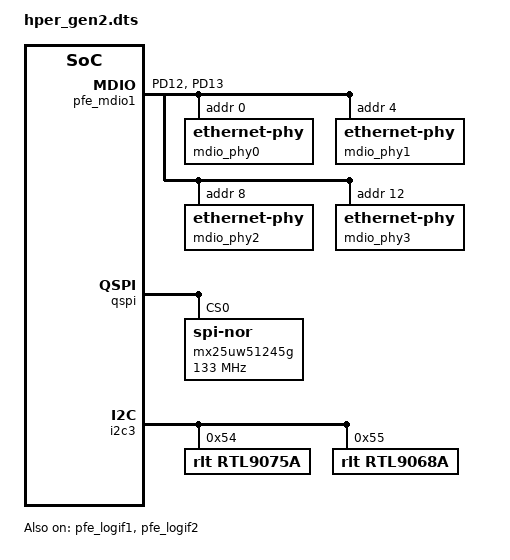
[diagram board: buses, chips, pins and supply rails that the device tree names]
/*
 * Copyright 2019-2020 NXP
 *
 * This program is free software; you can redistribute it and/or modify
 * it under the terms of the GNU General Public License as published by
 * the Free Software Foundation; either version 2 of the License, or
 * (at your option) any later version.
 */

/dts-v1/;
#include "hper_gen2_common.dts"

&pfe_logif1 {
	status = "okay";
	fsl,pfeng-hif-channel = <1>;
	phy-mode = "rgmii";
	phy-handle = <&mdio_phy0>;
	pinctrl-names = "default";
	pinctrl-0 = <&pinctrl0_pfe1_rgmii_c>, <&pinctrl1_pfe1_rgmii_c>;
};


&pfe_logif2 {
	status = "okay";
	fsl,pfeng-hif-channel = <2>;
	phy-mode = "sgmii";
	phy-handle = <&mdio_phy1>;
};

&pfe_mdio1 {
	/* used by USB ULPI */
	status = "okay";
	pinctrl-names = "default";
	pinctrl-0 = <&pinctrl0_pfe1_mdio_c>, <&pinctrl1_pfe1_mdio_c>;
	/* TI DP83TG720R PHY 0 */
	mdio_phy0: ethernet-phy@0 {
		#address-cells = <1>;
		#size-cells = <0>;
		reg = <0>;
	};
	/* TI DP83TG720S PHY 1 */
	mdio_phy1: ethernet-phy@1 {
		#address-cells = <1>;
		#size-cells = <0>;
		reg = <4>;
	};
	/* TI DP83TG720R PHY 2 */
	mdio_phy2: ethernet-phy@2 {
		#address-cells = <1>;
		#size-cells = <0>;
		reg = <8>;
	};
	/* TI DP83TG720R PHY 3 */
	mdio_phy3: ethernet-phy@3 {
		#address-cells = <1>;
		#size-cells = <0>;
		reg = <12>;
	};
};

&pfe_mdio2 {
	/* used by USB ULPI */
	status = "disabled";
};

&qspi {
	status = "ok";

	mx25uw51245g@0 {
		#address-cells = <1>;
		#size-cells = <1>;
		compatible = "jedec,spi-nor";
		spi-max-frequency = <133000000>;
		spi-tx-bus-width = <8>;
		spi-rx-bus-width = <8>;
		reg = <0>;
	};
};

&i2c3 {
	status = "okay";
	pinctrl-names = "default";
	pinctrl-0 = <&pinctrl0_i2c3 &pinctrl1_i2c3>;

	rtl9075a: rtlswitch@84 {
		compatible = "rlt,RTL9075A";
		reg = <0x54>;
		#address-cells = <1>;
		#size-cells = <0>;

		port-8 {
			reg = <8>;
			phy-handle = <&mdio_phy2>;
		};

		port-9 {
			reg = <9>;
			phy-handle = <&mdio_phy3>;
		};
	};

	rtl9068a: rtlswitch@85 {
		compatible = "rlt,RTL9068A";
		reg = <0x55>;
	};
};

&pinctrl0 {
	status = "okay";
	s32g274a-evb {

		pinctrl0_pfe1_mdio_c: pfe1mdiocgrp {
			fsl,pins = <
				S32_G274_PAD_PD12__PFE1_MDC
				S32_G274_PAD_PD13__PFE1_MDIO_OUT
			>;
		};

		pinctrl0_pfe1_rgmii_c: pfe1rgmiicgrp {
			fsl,pins = <
				S32_G274_PAD_PE2__PFE1_TXCLK_OUT
				S32_G274_PAD_PE3__PFE1_TX_EN_OUT
				S32_G274_PAD_PE4__PFE1_TX_D0_OUT
				S32_G274_PAD_PE5__PFE1_TX_D1_OUT
				S32_G274_PAD_PE6__PFE1_TX_D2_OUT
				S32_G274_PAD_PE7__PFE1_TX_D3_OUT
				S32_G274_PAD_PE8__PFE1_RXCLK_OUT
				S32_G274_PAD_PE9__PFE1_RX_DV_OUT
				S32_G274_PAD_PE10__PFE1_RX_D0_OUT
				S32_G274_PAD_PE11__PFE1_RX_D1_OUT
				S32_G274_PAD_PE12__PFE1_RX_D2_OUT
				S32_G274_PAD_PE13__PFE1_RX_D3_OUT
			>;
		};

	};
};

&pinctrl1 {
	status = "okay";
	s32g274a-evb {

		pinctrl1_pfe1_mdio_c: pfe1mdiocgrp {
			fsl,pins = <
				S32_G274_PAD_PD13__PFE1_MDIO_IN
			>;
		};

		pinctrl1_pfe1_rgmii_c: pfe1rgmiicgrp {
			fsl,pins = <
				S32_G274_PAD_PE2__PFE1_TXCLK_IN
				S32_G274_PAD_PE8__PFE1_RXCLK_IN
				S32_G274_PAD_PE9__PFE1_RX_DV_IN
				S32_G274_PAD_PE10__PFE1_RX_D0_IN
				S32_G274_PAD_PE11__PFE1_RX_D1_IN
				S32_G274_PAD_PE12__PFE1_RX_D2_IN
				S32_G274_PAD_PE13__PFE1_RX_D3_IN
			>;
		};

		pinctrl_gpioeirq: gpioeirqgrp {
			fsl,pins = <
				S32_GEN1_PAD_PB3__SIUL_EIRQ0
				S32_GEN1_PAD_PB4__SIUL_EIRQ1
				S32_GEN1_PAD_PB5__SIUL_EIRQ2
				S32_GEN1_PAD_PB6__SIUL_EIRQ3
				S32_GEN1_PAD_PB7__SIUL_EIRQ4
				S32_GEN1_PAD_PB8__SIUL_EIRQ5
				S32_GEN1_PAD_PB9__SIUL_EIRQ6
				S32_GEN1_PAD_PB10__SIUL_EIRQ7
				S32_GEN1_PAD_PB11__SIUL_EIRQ8
				S32_GEN1_PAD_PB12__SIUL_EIRQ9
				S32_GEN1_PAD_PB13__SIUL_EIRQ10
				S32_GEN1_PAD_PK8__SIUL_EIRQ11
				S32_GEN1_PAD_PB15__SIUL_EIRQ12
				S32_GEN1_PAD_PC1__SIUL_EIRQ13
				S32_GEN1_PAD_PC2__SIUL_EIRQ14
				S32_GEN1_PAD_PC3__SIUL_EIRQ15
				S32_GEN1_PAD_PL8__SIUL_EIRQ16
				S32_GEN1_PAD_PL9__SIUL_EIRQ17       // External IRQ17 DI_GWP2PMIC_INT_N
				S32_GEN1_PAD_PL10__SIUL_EIRQ18
				S32_GEN1_PAD_PL11__SIUL_EIRQ19
				S32_GEN1_PAD_PL12__SIUL_EIRQ20
				S32_GEN1_PAD_PL13__SIUL_EIRQ21
				S32_GEN1_PAD_PL14__SIUL_EIRQ22
				S32_GEN1_PAD_PH1__SIUL_EIRQ23
				S32_GEN1_PAD_PH2__SIUL_EIRQ24
				S32_GEN1_PAD_PH3__SIUL_EIRQ25
				S32_GEN1_PAD_PH5__SIUL_EIRQ26
				S32_GEN1_PAD_PC4__SIUL_EIRQ27
				S32_GEN1_PAD_PC5__SIUL_EIRQ28
				S32_GEN1_PAD_PC6__SIUL_EIRQ29
				S32_GEN1_PAD_PC7__SIUL_EIRQ30
				S32_GEN1_PAD_PC8__SIUL_EIRQ31
				>;
		};
	};
};
